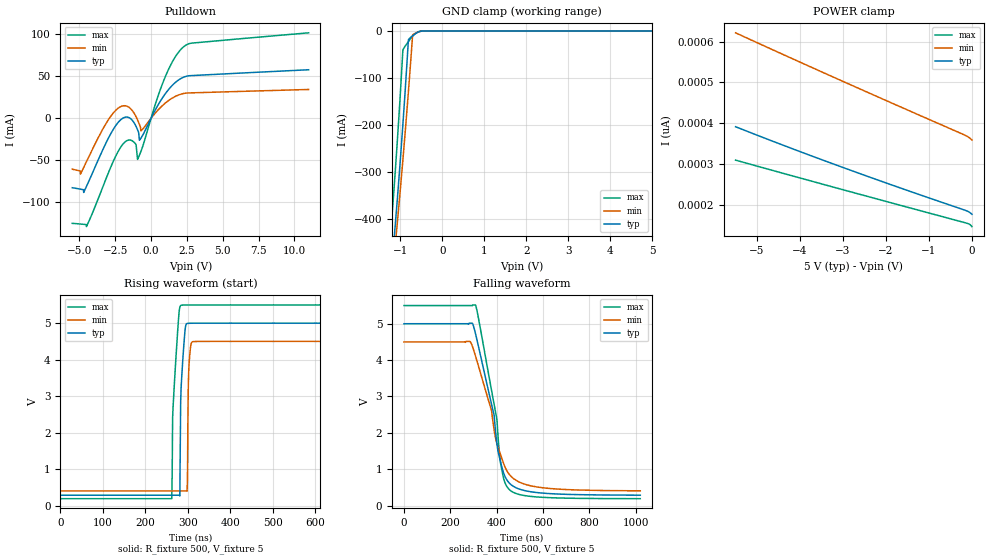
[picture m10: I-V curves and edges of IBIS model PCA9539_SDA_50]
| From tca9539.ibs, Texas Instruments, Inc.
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[Model]   PCA9539_SDA_50
Model_type  I/O_open_drain
Vinl=1.35
Vinh=3.85
Enable   Active-Low
Vref =   5V
Rref =   1k
Cref =   50p
Vmeas =   2.5
| variable   typ   min   max
C_comp   3.64pF   1.88pF   8.24pF
| C_pulldown   1.78pF   0.61pF   3.09pF
| C_tri-state   3.64pF   1.88pF   8.24pF
[Temperature Range]   40   100   -40
| Ambient temperature   25   85   -40
[Voltage range]   5   4.5   5.5
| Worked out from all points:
|   slope of the pulldown table from 0 to 0.75 V, typ, clamps not added: 32.5 ohm
|   GND clamp passes 1 mA (typ) near -0.53 V on its own axis
|   rising waveform, R_fixture 500, V_fixture 5: 20-80 % time 6.62ns typ, 2.65ns min, 10.7ns max; typ from 0.282 V to 5 V
|   falling waveform, R_fixture 500, V_fixture 5: 20-80 % time 83ns typ, 97.6ns min, 73.1ns max; typ from 5 V to 0.285 V
[GND Clamp]
| PCA9539_SDA_50
|   Voltage   I(typ)   I(min)   I(max)
-5.5V     -2.312A    -2.337A    -2.193A
-1.245V   -538.5mA   -565.9mA   -443.1mA
-1.21V    -503.2mA   -534.5mA   -403.1mA
-1.14V    -429.8mA   -470.1mA   -318.6mA
-1.12V    -408.1mA   -451.2mA   -293.3mA
-1.105V   -391.6mA   -437mA     -273.9mA
-1.085V   -369.2mA   -417.7mA   -247.5mA
-940mV    -195.3mA   -271.5mA   -39.92mA
-810mV    -18.61mA   -128.2mA   -22.4mA
-710mV    -10.04mA   -8.533mA   -10.85mA
-605mV    -3.588mA   -3.153mA   -2.905mA
5V        177.6pA    386.7pA    129.5pA
[POWER Clamp]
| PCA9539_SDA_50
|   Voltage   I(typ)   I(min)   I(max)
-5.5V     391.8pA    621.5pA    310.1pA
-4.285V   342.3pA    563.3pA    274.7pA
-3.025V   293pA      503.8pA    238.4pA
-1.675V   242.3pA    440.9pA    199.9pA
-140mV    186.8pA    369.8pA    156.4pA
-55mV     182.4pA    364.3pA    153pA
-95.1fV   177.6pA    359.3pA    147.5pA
[Pulldown]
| PCA9539_SDA_50
|   Voltage   I(typ)   I(min)   I(max)
-5.5V     -82.5mA    -60.5mA    -124.8mA
-4.93V    -84.17mA   -66.36mA   -125.6mA
-4.51V    -80.98mA   -51.62mA   -128.6mA
-2.905V   -21.24mA   122uA      -61.78mA
-1.86V    978uA      14.89mA    -28.83mA
-1.05V    -9.62mA    1.862mA    -31.04mA
-940mV    -13.81mA   -2.131mA   -48.82mA
-810mV    -26.15mA   -7.466mA   -43.65mA
-705mV    -23.57mA   -14.99mA   -39.23mA
950mV     28.07mA    17.41mA    47.58mA
2.295V    48.95mA    29.48mA    85.2mA
11V       57.63mA    34.2mA     101.5mA
[Ramp]
| PCA9539_SDA_50
| variable   typ   min   max
dV/dt_r   2.86/6.46E-09   2.46/2.64E-09   3.24/1.08E-08
dV/dt_f   2.84/8.33E-08   2.47/9.80E-08   3.20/7.34E-08
R_load = 500
[Rising Waveform]
| PCA9539_SDA_50
R_fixture =   500
C_fixture =   0
L_fixture =   0
V_fixture =   5
V_fixture_min = 4.5
V_fixture_max = 5.5
|   Time   V(typ)   V(min)   V(max)
0s        282.3mV    400mV      187mV
262ns     282.3mV    400mV      187mV
265ns     282.3mV    400mV      2.68V
281ns     259.8mV    400mV      5.437V
283ns     2.87V      400mV      5.484V
284ns     3.232V     400mV      5.491V
298ns     4.99V      395mV      5.499V
302ns     4.996V     3.703V     5.499V
310ns     4.998V     4.486V     5.5V
1.019us   5V         4.5V       5.5V
[Falling Waveform]
| PCA9539_SDA_50
R_fixture =   500
C_fixture =   0
L_fixture =   0
V_fixture =   5
V_fixture_min = 4.5
V_fixture_max = 5.5
|   Time   V(typ)   V(min)   V(max)
0s        5V         4.5V       5.5V
285ns     5.015V     4.511V     5.5V
309ns     4.716V     4.104V     5.511V
378ns     2.779V     2.605V     3.16V
389ns     2.477V     2.075V     2.78V
401ns     1.701V     1.697V     2.365V
418ns     1.169V     1.373V     1.114V
458ns     596mV      829.7mV    419.6mV
599ns     341.6mV    488.6mV    225.8mV
1.019us   285mV      404.4mV    188.7mV
